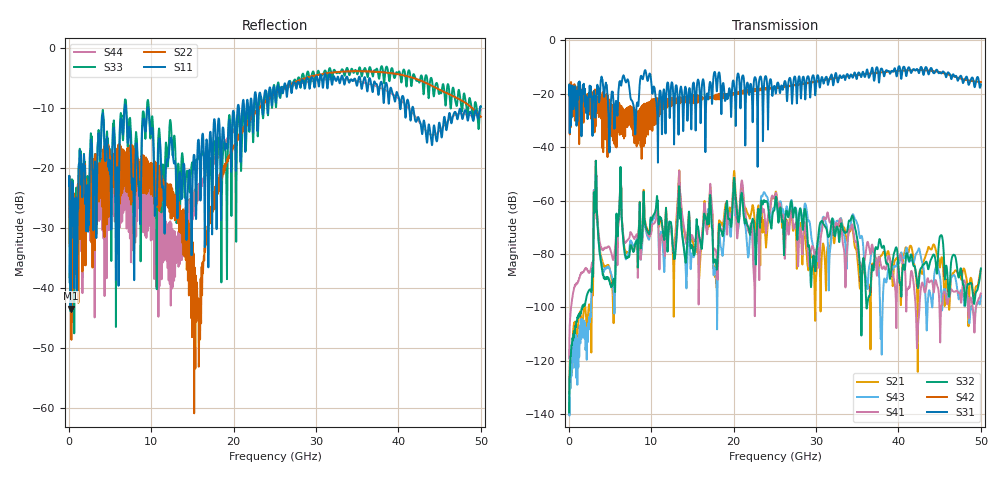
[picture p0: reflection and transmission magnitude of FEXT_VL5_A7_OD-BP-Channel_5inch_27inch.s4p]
#	Hz	S	RI	R	50
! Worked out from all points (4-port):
!   2500 points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, 20 MHz to 50 GHz, reference 50 ohm
!   strongest paths, dB at 20 MHz, 12.52 GHz, 25.02 GHz, 37.52 GHz, 50 GHz:
!     S31: -20.5, -15.9, -18.0, -11.7, -16.5
!     S42: -20.6, -24.4, -17.8, -12.1, -15.6
!     S32: -139.3, -73.8, -60.9, -77.5, -85.4
!     S41: -119.1, -73.7, -57.9, -82.3, -94.8
!     S43: -133.8, -74.9, -60.6, -84.2, -95.6
!     S21: -132.3, -74.7, -57.9, -86.1, -85.8
!   lowest |S11| = -43.4 dB at 200 MHz (marker M1), VSWR 1.01, Z = 49.8 + j0.631 ohm
!   |S11| at or under -10 dB: start of sweep to 6.757 GHz; 9.626 GHz to 20.47 GHz (10.84 GHz wide, 72.1 % of centre); 41.8 GHz to 49.88 GHz (8.08 GHz wide, 17.6 % of centre)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
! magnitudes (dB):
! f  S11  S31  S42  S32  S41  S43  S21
! 20 MHz  -22.9  -20.5  -20.6  -139.3  -119.1  -133.8  -132.3
! 200 MHz  -43.4  -32.0  -32.6  -118.2  -101.8  -121.8  -119.4
! 12.7 GHz  -18.9  -24.2  -22.2  -79.7  -78.8  -78.8  -91.3
! 13.38 GHz  -20.9  -24.3  -21.2  -54.6  -48.8  -54.8  -48.7
! 15.82 GHz  -16.9  -17.2  -21.1  -73.6  -84.0  -74.8  -88.6
! 20.08 GHz  -12.3  -17.3  -20.0  -51.7  -52.4  -55.3  -49.3
! 50 GHz  -9.7  -16.5  -15.6  -85.4  -94.8  -95.6  -85.8
